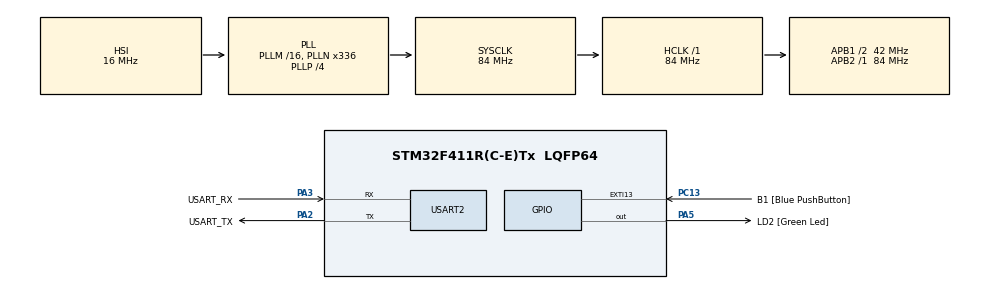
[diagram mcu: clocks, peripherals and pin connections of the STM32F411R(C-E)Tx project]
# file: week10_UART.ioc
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Mcu.Family=STM32F4
Mcu.Name=STM32F411R(C-E)Tx
Mcu.Package=LQFP64
NVIC.PriorityGroup=NVIC_PRIORITYGROUP_0
NVIC.USART2_IRQn=true\:0\:0\:false\:false\:true\:true\:true\:true
PA13.GPIO_Label=TMS
PA13.Mode=Serial_Wire
PA13.Signal=SYS_JTMS-SWDIO
PA14.GPIO_Label=TCK
PA14.Mode=Serial_Wire
PA14.Signal=SYS_JTCK-SWCLK
PA2.GPIO_Label=USART_TX
PA2.Mode=Asynchronous
PA2.Signal=USART2_TX
PA3.GPIO_Label=USART_RX
PA3.Mode=Asynchronous
PA3.Signal=USART2_RX
PA5.GPIO_Label=LD2 [Green Led]
PA5.Signal=GPIO_Output
PB3.GPIO_Label=SWO
PB3.Signal=SYS_JTDO-SWO
PC13-ANTI_TAMP.GPIO_Label=B1 [Blue PushButton]
PC13-ANTI_TAMP.GPIO_ModeDefaultEXTI=GPIO_MODE_IT_FALLING
PC13-ANTI_TAMP.Signal=GPXTI13
PC14-OSC32_IN.Mode=LSE-External-Oscillator
PC14-OSC32_IN.Signal=RCC_OSC32_IN
PC15-OSC32_OUT.Mode=LSE-External-Oscillator
PC15-OSC32_OUT.Signal=RCC_OSC32_OUT
PH0\ -\ OSC_IN.Mode=HSE-External-Clock-Source
PH0\ -\ OSC_IN.Signal=RCC_OSC_IN
PH1\ -\ OSC_OUT.Mode=HSE-External-Clock-Source
PH1\ -\ OSC_OUT.Signal=RCC_OSC_OUT
ProjectManager.HeapSize=0x200
ProjectManager.StackSize=0x400
ProjectManager.TargetToolchain=STM32CubeIDE
RCC.48MHZClocksFreq_Value=84000000
RCC.AHBFreq_Value=84000000
RCC.APB1CLKDivider=RCC_HCLK_DIV2
RCC.APB1Freq_Value=42000000
RCC.APB1TimFreq_Value=84000000
RCC.APB2Freq_Value=84000000
RCC.APB2TimFreq_Value=84000000
RCC.CortexFreq_Value=84000000
RCC.FLatency-AdvancedSettings=FLASH_LATENCY_2
RCC.HCLKFreq_Value=84000000
RCC.HSE_VALUE=8000000
RCC.HSI_VALUE=16000000
RCC.PLLN=336
RCC.PLLP=RCC_PLLP_DIV4
RCC.SYSCLKFreq_VALUE=84000000
RCC.SYSCLKSource=RCC_SYSCLKSOURCE_PLLCLK
RCC.VCOOutputFreq_Value=336000000
USART2.VirtualMode=VM_ASYNC
board=NUCLEO-F411RE

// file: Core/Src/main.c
/* USER CODE BEGIN Header */
/**
  ******************************************************************************
  * @file           : main.c
  * @brief          : Main program body
  ******************************************************************************
  * @attention
  *
  * Copyright (c) 2022 STMicroelectronics.
  * All rights reserved.
  *
  * This software is licensed under terms that can be found in the LICENSE file
  * in the root directory of this software component.
  * If no LICENSE file comes with this software, it is provided AS-IS.
  *
  ******************************************************************************
  */
/* USER CODE END Header */
#include "main.h"

/* USER CODE BEGIN Includes */
#include <stdio.h>
#include <string.h>
/* USER CODE END Includes */

UART_HandleTypeDef huart2;

/* USER CODE BEGIN PV */
char TxDataBuffer[32] =
{ 0 };
char RxDataBuffer[32] =
{ 0 };
char UIBuffex[50] =
{ 0 };

uint16_t LEDHz = 1;
uint16_t LEDtimePer = 1;
uint8_t LEDONOFF = 1; // on 1 default
uint32_t LEDTimeStamp = 0;

uint8_t BTNActivate = 0;
uint32_t BTNTimestamp = 0;
uint8_t BTNVal[2] = {0};
/* USER CODE END PV */

void SystemClock_Config(void);
static void MX_GPIO_Init(void);
static void MX_USART2_UART_Init(void);
/* USER CODE BEGIN PFP */
void LED_UART_UI();
int16_t UARTRecieveIT();
/* USER CODE END PFP */

int main(void)
{

  /* MCU Configuration--------------------------------------------------------*/

  /* Reset of all peripherals, Initializes the Flash interface and the Systick. */
  HAL_Init();

  /* Configure the system clock */
  SystemClock_Config();

  /* Initialize all configured peripherals */
  MX_GPIO_Init();
  MX_USART2_UART_Init();
  /* USER CODE BEGIN 2 */
  {
  char temp[]="HELLOS TERRA\r\n please type something to test UART\r\n";
  HAL_UART_Transmit(&huart2, (uint8_t*)temp, strlen(temp),10); // strlen = length of str -> config length of data
  char temp2[]="Lobby: Press [0] to LED, Press [1] to button\r\n";
  HAL_UART_Transmit(&huart2, (uint8_t*)temp2, strlen(temp2),10);
  }
  /* USER CODE END 2 */

  /* Infinite loop */
  while (1)
  {

    /* USER CODE BEGIN 3 */

	  /*Method 1 Polling Mode*/

	  //		UARTRecieveAndResponsePolling();

	  /*Method 2 Interrupt Mode  print every 32 byte*/

	  // IT, no timeout// recieved from console
	  		HAL_UART_Receive_IT(&huart2,  (uint8_t*)RxDataBuffer, 32);

	  		/*Method 2 W/ 1 Char Received*/
	  		int16_t inputchar = UARTRecieveIT();
	  		if(inputchar!=-1) // -1 defined means no data
	  		{
	  			sprintf(TxDataBuffer, "ReceivedChar:[%c]\r\n", inputchar);
	  			HAL_UART_Transmit(&huart2, (uint8_t*)TxDataBuffer, strlen(TxDataBuffer), 1000);

	  			//-------------LED_UI_Session---------------------------------
	  			static enum {Lobby,BTNNON,LEDCF} LED_UI_Page = Lobby;
	  			switch(LED_UI_Page){
	  			case Lobby:
	  				//sprintf("Lobby: Press [0] to LED, Press [1] to button\n");

	  				if(inputchar == 49){ //ascii 49 = chr1
	  					LED_UI_Page = BTNNON;
	  					BTNActivate = 1;
	  					sprintf(UIBuffex, "Page:[BTN] type [x] to get back\r\n");}
	  				else if(inputchar == 48){ // chr0
	  					LED_UI_Page = LEDCF;
	  					sprintf(UIBuffex, "Page:[LED] type [x] to get back\r\n");
	  					HAL_UART_Transmit(&huart2, (uint8_t*)UIBuffex, strlen(UIBuffex), 100);
	  					sprintf(UIBuffex, "[a] up Hz\r\n[s] down Hz \r\n[d] ON/OFF \r\n");
	  					}
	  				else{sprintf(UIBuffex, "N/A, Retype\r\n");}
	  			break;

	  			case LEDCF:
	  				if(inputchar == 97){ // a // Speed up Hz + 1
	  					LEDHz++;
	  					sprintf(UIBuffex, "LED Hz:[%d]\r\n", LEDHz);
	  				}
	  				else if(inputchar == 115){ // s // Speed down Hz - 1
	  					if(LEDHz <= 1){LEDHz = 1;}
	  					else{LEDHz = LEDHz - 1;}

	  					sprintf(UIBuffex, "LED Hz:[%d]\r\n", LEDHz);
	  				}
	  				else if(inputchar == 100){ // d  // ON OFF
	  					LEDONOFF = (LEDONOFF+1) % 2; // toggle on off
	  					if (LEDONOFF == 0){sprintf(UIBuffex, "LED: OFF\r\n");}
	  					else{sprintf(UIBuffex, "LED: ON\r\n");}
	  				}
	  				else if(inputchar == 120){ // x
	  					LED_UI_Page = Lobby;
	  					sprintf(UIBuffex, "Lobby: Press [0] to LED, Press [1] to button\r\n");}
	  				else{sprintf(UIBuffex, "N/A, Retype\r\n");}
	  			break;

	  			case BTNNON:
	  				if(inputchar == 120){ // x
	  					LED_UI_Page = Lobby;
	  					BTNActivate = 0;
	  					sprintf(UIBuffex, "Lobby: Press [0] to LED, Press [1] to button\r\n");}
	  				else{sprintf(UIBuffex, "N/A, Retype\r\n");}
	  			break;
	  			}

	  			HAL_UART_Transmit(&huart2, (uint8_t*)UIBuffex, strlen(UIBuffex), 100);
	  		}

	  /*This section just simmulate Work Load*/
	//HAL_Delay(100);
	LEDtimePer = 1000 / LEDHz; // 1000 in HALgett / 1000000 in micros
	if (HAL_GetTick() - LEDTimeStamp >= LEDtimePer){
		LEDTimeStamp = HAL_GetTick();
		if(LEDONOFF == 0){
			HAL_GPIO_WritePin(LD2_GPIO_Port, LD2_Pin, 0);
		}else{  // not 0 = ON
			HAL_GPIO_TogglePin(LD2_GPIO_Port, LD2_Pin);
		}

	}
	//Button loop
	if (HAL_GetTick() - BTNTimestamp >= 100){
		BTNTimestamp = HAL_GetTick();
		if(BTNActivate == 1){
			BTNVal[1]=BTNVal[0];
			BTNVal[0] = HAL_GPIO_ReadPin(GPIOC, GPIO_PIN_13);
			if(BTNVal[0] != BTNVal[1]){ // edge detection
				if(BTNVal[0] == 0){sprintf(UIBuffex, "BTN: Pressed\r\n");}
				else{sprintf(UIBuffex, "BTN: UnP\r\n");}
				HAL_UART_Transmit(&huart2, (uint8_t*)UIBuffex, strlen(UIBuffex), 100);
			}
		}
	}

  }
  /* USER CODE END 3 */
}

void SystemClock_Config(void)
{
  RCC_OscInitTypeDef RCC_OscInitStruct = {0};
  RCC_ClkInitTypeDef RCC_ClkInitStruct = {0};

  /** Configure the main internal regulator output voltage
  */
  __HAL_RCC_PWR_CLK_ENABLE();
  __HAL_PWR_VOLTAGESCALING_CONFIG(PWR_REGULATOR_VOLTAGE_SCALE1);
  /** Initializes the RCC Oscillators according to the specified parameters
  * in the RCC_OscInitTypeDef structure.
  */
  RCC_OscInitStruct.OscillatorType = RCC_OSCILLATORTYPE_HSI;
  RCC_OscInitStruct.HSIState = RCC_HSI_ON;
  RCC_OscInitStruct.HSICalibrationValue = RCC_HSICALIBRATION_DEFAULT;
  RCC_OscInitStruct.PLL.PLLState = RCC_PLL_ON;
  RCC_OscInitStruct.PLL.PLLSource = RCC_PLLSOURCE_HSI;
  RCC_OscInitStruct.PLL.PLLM = 16;
  RCC_OscInitStruct.PLL.PLLN = 336;
  RCC_OscInitStruct.PLL.PLLP = RCC_PLLP_DIV4;
  RCC_OscInitStruct.PLL.PLLQ = 4;
  if (HAL_RCC_OscConfig(&RCC_OscInitStruct) != HAL_OK)
  {
    Error_Handler();
  }
  /** Initializes the CPU, AHB and APB buses clocks
  */
  RCC_ClkInitStruct.ClockType = RCC_CLOCKTYPE_HCLK|RCC_CLOCKTYPE_SYSCLK
                              |RCC_CLOCKTYPE_PCLK1|RCC_CLOCKTYPE_PCLK2;
  RCC_ClkInitStruct.SYSCLKSource = RCC_SYSCLKSOURCE_PLLCLK;
  RCC_ClkInitStruct.AHBCLKDivider = RCC_SYSCLK_DIV1;
  RCC_ClkInitStruct.APB1CLKDivider = RCC_HCLK_DIV2;
  RCC_ClkInitStruct.APB2CLKDivider = RCC_HCLK_DIV1;

  if (HAL_RCC_ClockConfig(&RCC_ClkInitStruct, FLASH_LATENCY_2) != HAL_OK)
  {
    Error_Handler();
  }
}

static void MX_USART2_UART_Init(void)
{

  huart2.Instance = USART2;
  huart2.Init.BaudRate = 115200;
  huart2.Init.WordLength = UART_WORDLENGTH_8B;
  huart2.Init.StopBits = UART_STOPBITS_1;
  huart2.Init.Parity = UART_PARITY_NONE;
  huart2.Init.Mode = UART_MODE_TX_RX;
  huart2.Init.HwFlowCtl = UART_HWCONTROL_NONE;
  huart2.Init.OverSampling = UART_OVERSAMPLING_16;
  if (HAL_UART_Init(&huart2) != HAL_OK)
  {
    Error_Handler();
  }

}

static void MX_GPIO_Init(void)
{
  GPIO_InitTypeDef GPIO_InitStruct = {0};

  /* GPIO Ports Clock Enable */
  __HAL_RCC_GPIOC_CLK_ENABLE();
  __HAL_RCC_GPIOH_CLK_ENABLE();
  __HAL_RCC_GPIOA_CLK_ENABLE();
  __HAL_RCC_GPIOB_CLK_ENABLE();

  /*Configure GPIO pin Output Level */
  HAL_GPIO_WritePin(LD2_GPIO_Port, LD2_Pin, GPIO_PIN_RESET);

  /*Configure GPIO pin : B1_Pin */
  GPIO_InitStruct.Pin = B1_Pin;
  GPIO_InitStruct.Mode = GPIO_MODE_IT_FALLING;
  GPIO_InitStruct.Pull = GPIO_NOPULL;
  HAL_GPIO_Init(B1_GPIO_Port, &GPIO_InitStruct);

  /*Configure GPIO pin : LD2_Pin */
  GPIO_InitStruct.Pin = LD2_Pin;
  GPIO_InitStruct.Mode = GPIO_MODE_OUTPUT_PP;
  GPIO_InitStruct.Pull = GPIO_NOPULL;
  GPIO_InitStruct.Speed = GPIO_SPEED_FREQ_LOW;
  HAL_GPIO_Init(LD2_GPIO_Port, &GPIO_InitStruct);

}

/* USER CODE BEGIN 4 */
//void UARTRecieveAndResponsePolling()
//{
//	char Recieve[32]={0}; // UART Data recieved here

//	HAL_UART_Receive(&huart2, (uint8_t*)Recieve, 32, 1000);
// string print func
//	sprintf(TxDataBuffer, "Received:[%s]\r\n", Recieve);
//	HAL_UART_Transmit(&huart2, (uint8_t*)TxDataBuffer, strlen(TxDataBuffer), 1000);
//}

int16_t UARTRecieveIT() // find last update position and return data in that position
{
	static uint32_t dataPos = 0;
	int16_t data=-1; // return -1 if no data
	// xfer size = 32, xfercount will down every time text typed in

	if(huart2.RxXferSize - huart2.RxXferCount!=dataPos) // update when datapos is changed
	{
		data=RxDataBuffer[dataPos];
		dataPos= (dataPos+1) % huart2.RxXferSize; // update and % 32(overflow)
	}
	return data;
}

//void HAL_UART_RxCpltCallback(UART_HandleTypeDef *huart)
//{
//	sprintf(TxDataBuffer, "Received:[%s]\r\n", RxDataBuffer);
//	HAL_UART_Transmit(&huart2, (uint8_t*)TxDataBuffer, strlen(TxDataBuffer), 1000);
//}

void LED_UART_UI(){

}
/* USER CODE END 4 */

void Error_Handler(void)
{
  __disable_irq();
  while (1)
  {
  }
}
